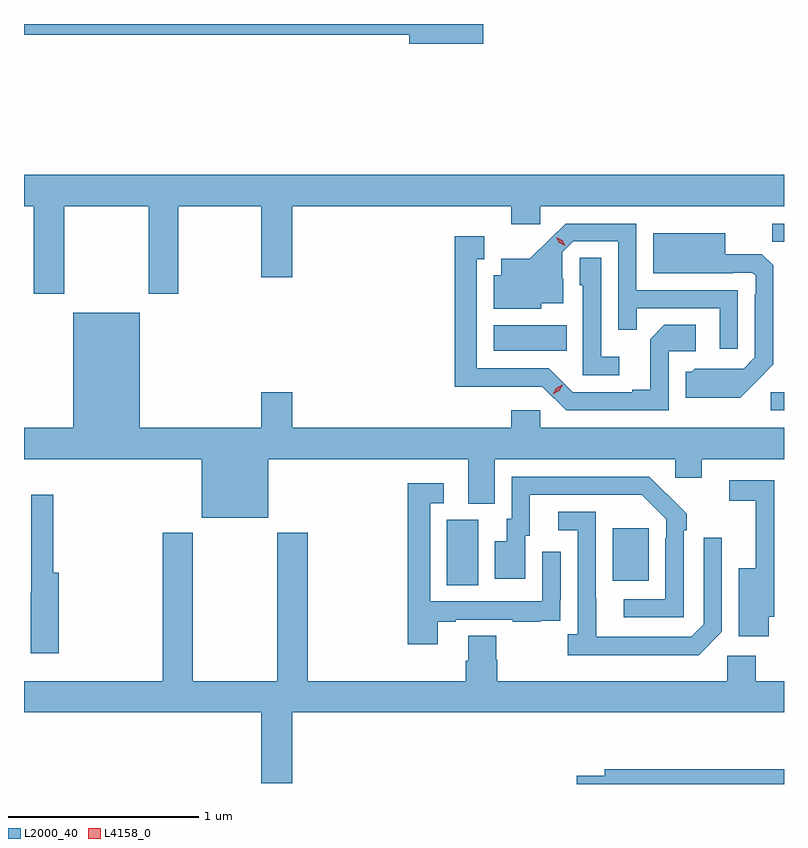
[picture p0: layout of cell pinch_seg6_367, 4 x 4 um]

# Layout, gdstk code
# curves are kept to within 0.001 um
import gdstk
lib = gdstk.Library(unit=1e-6, precision=1e-09)
def R(c, l, rs):  # rectangles x0, y0, x1, y1
    for r in rs: c.add(gdstk.rectangle(r[:2], r[2:], *l))
def P(c, l, *ps):  # polygons
    for p in ps: c.add(gdstk.Polygon(p, *l))
L2000_40 = (2000, 40)
L4158_0 = (4158, 0)

pinch_seg6_367 = lib.new_cell('pinch_seg6_367')
R(pinch_seg6_367, L2000_40, [(633.518,941.344,633.682,941.688), (634.391,941.369,634.579,941.644), (635.223,942.264,635.292,942.36), (633.764,942.578,634.148,942.712), (635.23,943.153,635.292,943.248)])
P(pinch_seg6_367, L2000_40, [(633.709,944.298),(631.292,944.298),(631.292,944.242),(633.32,944.242),(633.32,944.195),(633.709,944.195)],
  [(631.503,943.34),(631.948,943.34),(631.948,942.879),(632.103,942.879),(632.103,943.34),(632.54,943.34),(632.54,942.966),(632.704,942.966),(632.704,943.34),(633.857,943.34),(633.857,943.245),(634.008,943.245),(634.008,943.34),(635.292,943.34),(635.292,943.504),(631.292,943.504),(631.292,943.34),(631.343,943.34),(631.343,942.879),(631.503,942.879)],
  [(635.049,942.897),(634.515,942.897),(634.515,943.248),(634.142,943.248),(633.955,943.063),(633.803,943.063),(633.803,942.976),(633.764,942.976),(633.764,942.8),(634.014,942.8),(634.014,942.827),(634.129,942.827),(634.129,942.956),(634.125,942.956),(634.125,943.098),(634.182,943.155),(634.419,943.155),(634.419,942.688),(634.517,942.688),(634.517,942.801),(634.953,942.801),(634.953,942.588),(635.049,942.588)],
  [(635.143,942.413),(635.235,942.506),(635.235,943.028),(635.176,943.087),(634.984,943.087),(634.984,943.198),(634.604,943.198),(634.604,942.986),(635.024,942.986),(635.024,942.99),(635.124,942.99),(635.142,942.972),(635.142,942.872),(635.139,942.872),(635.139,942.543),(635.079,942.483),(634.822,942.484),(634.806,942.468),(634.775,942.468),(634.775,942.332),(635.063,942.332)],
  [(634.686,942.576),(634.828,942.576),(634.828,942.716),(634.663,942.716),(634.587,942.64),(634.587,942.373),(634.493,942.373),(634.493,942.36),(634.179,942.36),(634.053,942.486),(633.676,942.486),(633.676,943.059),(633.715,943.059),(633.715,943.18),(633.558,943.18),(633.558,942.389),(634.02,942.39),(634.146,942.264),(634.686,942.264)],
  [(634.426,942.547),(634.329,942.547),(634.329,943.067),(634.218,943.067),(634.218,942.924),(634.233,942.924),(634.233,942.45),(634.426,942.45)],
  [(632.578,942.008),(633.629,942.008),(633.629,941.773),(633.769,941.773),(633.769,942.008),(634.719,942.008),(634.719,941.91),(634.858,941.91),(634.858,942.008),(635.292,942.008),(635.292,942.172),(634.008,942.172),(634.008,942.265),(633.857,942.265),(633.857,942.172),(632.704,942.172),(632.704,942.361),(632.54,942.361),(632.54,942.172),(631.9,942.172),(631.9,942.778),(631.55,942.778),(631.55,942.172),(631.292,942.172),(631.292,942.008),(632.228,942.008),(632.228,941.699),(632.578,941.699)],
  [(634.764,941.633),(634.779,941.633),(634.779,941.721),(634.582,941.916),(633.858,941.916),(633.858,941.694),(633.833,941.694),(633.833,941.575),(633.77,941.575),(633.77,941.379),(633.931,941.379),(633.931,941.604),(633.955,941.604),(633.955,941.82),(634.543,941.82),(634.671,941.691),(634.671,941.591),(634.668,941.591),(634.668,941.271),(634.449,941.271),(634.449,941.175),(634.764,941.175)],
  [(635.212,941.177),(635.241,941.177),(635.241,941.898),(635.004,941.898),(635.004,941.79),(635.144,941.79),(635.144,941.434),(635.054,941.434),(635.054,941.076),(635.212,941.076)],
  [(633.469,941.151),(633.565,941.151),(633.565,941.163),(633.865,941.163),(633.865,941.151),(634.013,941.151),(634.013,941.157),(634.115,941.157),(634.115,941.266),(634.116,941.266),(634.116,941.521),(634.02,941.521),(634.02,941.259),(633.429,941.259),(633.429,941.775),(633.502,941.775),(633.502,941.881),(633.313,941.881),(633.313,941.034),(633.469,941.034)],
  [(631.475,941.41),(631.445,941.41),(631.445,941.821),(631.329,941.821),(631.329,941.306),(631.328,941.306),(631.328,940.986),(631.475,940.986)],
  [(634.965,941.099),(634.965,941.593),(634.869,941.593),(634.869,941.139),(634.803,941.073),(634.303,941.073),(634.302,941.73),(634.104,941.73),(634.104,941.634),(634.206,941.634),(634.206,941.086),(634.155,941.086),(634.155,940.976),(634.842,940.976)],
  [(632.704,940.676),(635.292,940.676),(635.292,940.84),(635.144,940.84),(635.144,940.972),(634.992,940.972),(634.992,940.84),(633.782,940.84),(633.782,940.953),(633.777,940.953),(633.777,941.078),(633.629,941.078),(633.629,940.946),(633.617,940.946),(633.617,940.84),(632.786,940.84),(632.786,941.62),(632.626,941.62),(632.626,940.84),(632.181,940.84),(632.181,941.62),(632.021,941.62),(632.021,940.84),(631.292,940.84),(631.292,940.676),(632.54,940.676),(632.54,940.302),(632.704,940.302)],
  [(635.292,940.375),(634.349,940.375),(634.349,940.341),(634.2,940.341),(634.2,940.298),(635.292,940.298)])
P(pinch_seg6_367, L4158_0, [(634.141,943.131),(634.11,943.146),(634.092,943.175),(634.092,943.175),(634.093,943.175),(634.124,943.16),(634.141,943.131),(634.141,943.131)],
  [(634.076,942.349),(634.076,942.349),(634.094,942.381),(634.126,942.4),(634.127,942.4),(634.127,942.399),(634.108,942.367),(634.076,942.349)])

lib.write_gds('pinch_seg6_367.gds')
